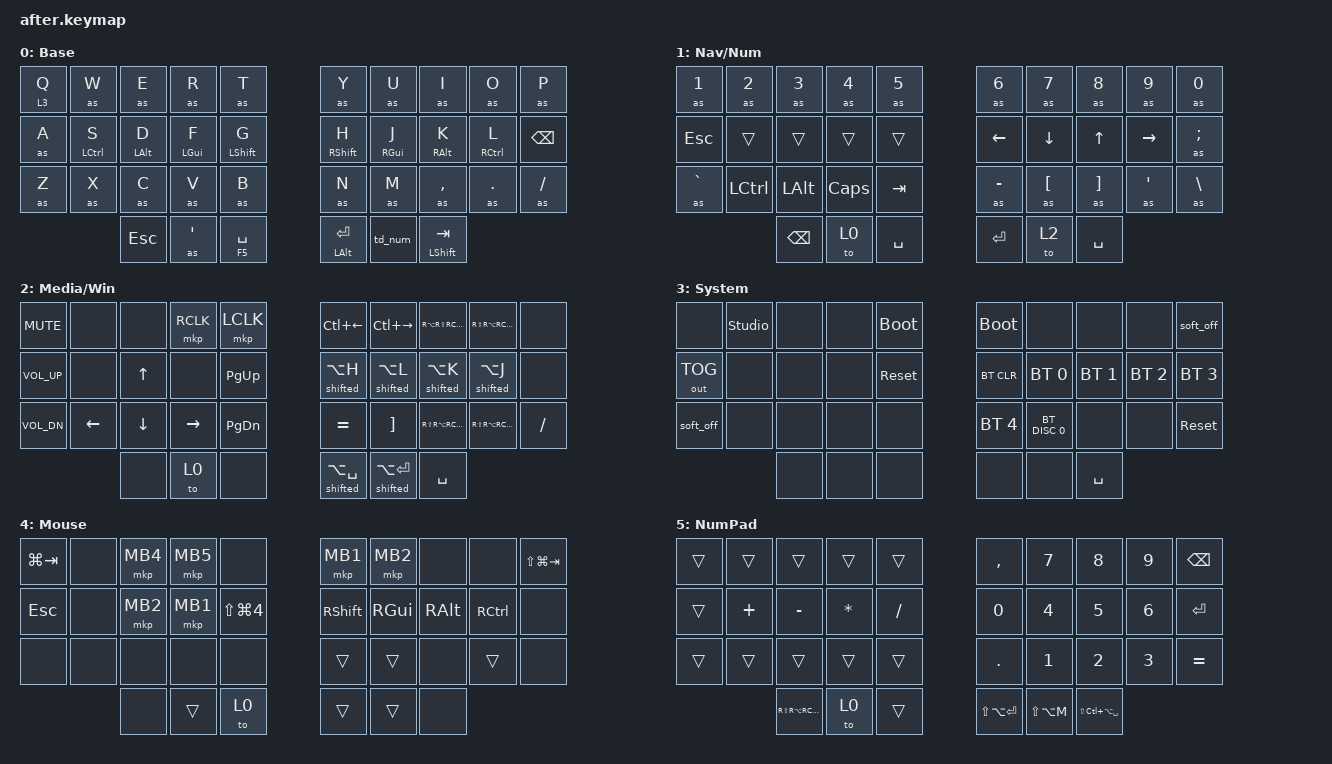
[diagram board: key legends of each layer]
#include <behaviors.dtsi>
#include <dt-bindings/zmk/bt.h>
#include <dt-bindings/zmk/keys.h>
#include <dt-bindings/zmk/outputs.h>
#include <dt-bindings/zmk/pointing.h>
#include <behaviors/num_word.dtsi>   // urob/zmk-auto-layer module
#include <scroll-snap.dtsi>          // kot149/zmk-scroll-snap module

/* Key position groups for timeless homerow mods (36-key numbering)
 *  0  1  2  3  4    5  6  7  8  9
 * 10 11 12 13 14   15 16 17 18 19
 * 20 21 22 23 24   25 26 27 28 29
 *       30 31 32   33 34 35
 */
#define KEYS_L 0 1 2 3 4 10 11 12 13 14 20 21 22 23 24
#define KEYS_R 5 6 7 8 9 15 16 17 18 19 25 26 27 28 29
#define THUMBS 30 31 32 33 34 35

/ {
    chosen { zmk,physical-layout = &gggw_crosses_36_layout; };

    behaviors {
        hml: home_row_mod_left {
            compatible = "zmk,behavior-hold-tap";
            label = "HOME_ROW_MOD_LEFT";
            #binding-cells = <2>;
            flavor = "balanced";
            tapping-term-ms = <280>;
            quick-tap-ms = <175>;
            require-prior-idle-ms = <150>;
            bindings = <&kp>, <&kp>;
            hold-trigger-key-positions = <KEYS_R THUMBS>;
            hold-trigger-on-release;
        };

        hmr: home_row_mod_right {
            compatible = "zmk,behavior-hold-tap";
            label = "HOME_ROW_MOD_RIGHT";
            #binding-cells = <2>;
            flavor = "balanced";
            tapping-term-ms = <280>;
            quick-tap-ms = <175>;
            require-prior-idle-ms = <150>;
            bindings = <&kp>, <&kp>;
            hold-trigger-key-positions = <KEYS_L THUMBS>;
            hold-trigger-on-release;
        };

        td_num: tap_dance_num {
            compatible = "zmk,behavior-tap-dance";
            label = "TAP_DANCE_NUM";
            #binding-cells = <0>;
            tapping-term-ms = <200>;
            bindings = <&num_word 5>, <&to 5>, <&to 1>;   // tap: smart numpad, double tap: lock numpad, triple tap: lock layer 1
        };

        as_ht: autoshift_hold_tap {
            compatible = "zmk,behavior-hold-tap";
            label = "AUTOSHIFT_HOLD_TAP";
            #binding-cells = <2>;
            tapping-term-ms = <350>;
            bindings = <&shifted>, <&kp>;

            quick_tap_ms = <0>;
            flavor = "tap-preferred";
        };
    };

    macros {
        shifted: macro_shifted_kp {
            #binding-cells = <1>;
            label = "MACRO_SHIFTED_KP";
            compatible = "zmk,behavior-macro-one-param";
            bindings =
                <&macro_press>,
                <&kp LSHFT &macro_param_1to1>,
                <&macro_tap>,
                <&kp MACRO_PLACEHOLDER>,
                <&macro_release>,
                <&kp LSHFT>;
        };

        as: autoshift {
            compatible = "zmk,behavior-macro-one-param";
            #binding-cells = <1>;
            label = "AUTOSHIFT_KP";
            bindings =
                <&macro_press>,
                <&macro_param_1to1 &macro_param_1to2 &as_ht MACRO_PLACEHOLDER MACRO_PLACEHOLDER>,
                <&macro_pause_for_release>,
                <&macro_release>,
                <&macro_param_1to1 &macro_param_1to2 &as_ht MACRO_PLACEHOLDER MACRO_PLACEHOLDER>;
        };
    };
};

/* Travel power-off: hold for 2 s to shut both halves down completely
 * (central forwards to the peripheral first). Wake by tapping the reset
 * button on each half; keys cannot wake it, so it is safe in a bag.
 */
&soft_off {
    hold-time-ms = <2000>;
};

&lt {
    tapping-term-ms = <200>;
    flavor = "balanced";
    quick-tap-ms = <150>;
};

/ {
    combos {
        compatible = "zmk,combos";

        layer1-combo-left {
            bindings = <&mo 1>;
            key-positions = <24 32>;
        };

        layer2-combo-left {
            bindings = <&mo 2>;
            key-positions = <23 32>;
        };

        layer1-combo-right {
            bindings = <&mo 1>;
            key-positions = <25 33>;
        };

        layer2-combo-right {
            bindings = <&mo 2>;
            key-positions = <26 33>;
        };

        shiftenter {
            bindings = <&shifted ENTER>;
            key-positions = <32 33>;
        };

        alt-tab {
            bindings = <&kp LA(TAB)>;
            key-positions = <31 10>;
        };
    };

    macros {
    };

    behaviors {
    };

    keymap {
        compatible = "zmk,keymap";

        layer_0 {
            display-name = "Base";
            bindings = <
&lt 3 Q  &as W               &as E           &as R           &as T             &as Y               &as U            &as I               &as O                &as P
&as A    &hml LEFT_CONTROL S  &hml LEFT_ALT D  &hml LEFT_GUI F  &hml LEFT_SHIFT G  &hmr RIGHT_SHIFT H   &hmr RIGHT_GUI J  &hmr RIGHT_ALT K     &hmr RIGHT_CONTROL L  &kp BACKSPACE
&as Z    &as X               &as C           &as V           &as B             &as N               &as M            &as COMMA           &as DOT              &as FSLH
                             &kp ESCAPE      &as APOS        &mt F5 SPACE      &mt LEFT_ALT ENTER  &td_num          &mt LEFT_SHIFT TAB
            >;
        };

        layer_1 {
            display-name = "Nav/Num";
            bindings = <
&as NUMBER_1  &as NUMBER_2  &as NUMBER_3   &as NUMBER_4  &as NUMBER_5  &as NUMBER_6    &as N7            &as N8             &as NUMBER_9     &as NUMBER_0
&kp ESCAPE    &trans        &trans         &trans        &trans        &kp LEFT_ARROW  &kp DOWN_ARROW    &kp UP_ARROW       &kp RIGHT_ARROW  &as SEMICOLON
&as GRAVE     &kp LCTRL     &kp LEFT_ALT   &kp CAPS      &kp TAB       &as MINUS       &as LEFT_BRACKET  &as RIGHT_BRACKET  &as SQT          &as BACKSLASH
                            &kp BACKSPACE  &to 0         &kp SPACE     &kp ENTER       &to 2             &kp SPACE
            >;
        };

        layer_2 {
            display-name = "Media/Win";
            bindings = <
&kp K_MUTE    &none           &none           &mkp RCLK        &mkp LCLK      &kp LC(LEFT)        &kp LC(RIGHT)       &kp RA(RS(RC(LEFT)))  &kp RS(RA(RC(RIGHT)))  &none
&kp C_VOL_UP  &none           &kp UP_ARROW    &none            &kp PAGE_UP    &shifted LA(H)      &shifted LA(L)      &shifted LA(K)        &shifted LA(J)         &none
&kp C_VOL_DN  &kp LEFT_ARROW  &kp DOWN_ARROW  &kp RIGHT_ARROW  &kp PAGE_DOWN  &kp EQUAL           &kp RBKT            &kp RS(RA(RC(H)))     &kp RS(RA(RC(L)))      &kp SLASH
                              &none           &to 0            &none          &shifted LA(SPACE)  &shifted LA(ENTER)  &kp SPACE
            >;
        };

        layer_3 {
            // Hold Q to reach this layer. soft_off needs a 2 s hold.
            // bootloader/sys_reset act on the half whose key is pressed.
            display-name = "System";
            bindings = <
&none          &studio_unlock  &none  &none  &bootloader  &bootloader  &none          &none         &none         &soft_off
&out OUT_TOG   &none           &none  &none  &sys_reset   &bt BT_CLR   &bt BT_SEL 0   &bt BT_SEL 1  &bt BT_SEL 2  &bt BT_SEL 3
&soft_off      &none           &none  &none  &none        &bt BT_SEL 4 &bt BT_DISC 0  &none         &none         &sys_reset
                               &none  &none  &none        &none        &none          &kp SPACE
            >;
        };

        Mouse {
            display-name = "Mouse";
            bindings = <
&kp LG(TAB)  &none  &mkp MB4  &mkp MB5  &none                 &mkp MB1         &mkp MB2       &none          &none              &kp LS(LG(TAB))
&kp ESC      &none  &mkp MB2  &mkp MB1  &kp LS(LG(NUMBER_4))  &kp RIGHT_SHIFT  &kp RIGHT_GUI  &kp RIGHT_ALT  &kp RIGHT_CONTROL  &none
&none        &none  &none     &none     &none                 &trans           &trans         &none          &trans             &none
                    &none     &trans    &to 0                 &trans           &trans         &none
            >;
        };

        numpad {
            // Right half is a numpad (456 on home row, like a physical pad).
            // Left half stays transparent except an operator cluster on the home row,
            // so left-hand letters fall through to base and end num_word naturally.
            // Index 5: num_word and td_num point here.
            // Thumbs (Amethyst): pos 30 toggle global tiling (mod2+T),
            // pos 33 swap focused window with main (mod1+Enter),
            // pos 34 focus main window (mod1+M, bind in Amethyst prefs),
            // pos 35 cycle layout (Shift+Ctrl+Opt+Space, custom Amethyst binding;
            // mod1+Space is taken by voice input). Plain Space/Enter still exit numword.
            display-name = "NumPad";
            bindings = <
&trans  &trans    &trans     &trans     &trans     &kp COMMA  &kp N7  &kp N8  &kp N9  &kp BACKSPACE
&trans  &kp PLUS  &kp MINUS  &kp ASTRK  &kp FSLH   &kp N0     &kp N4  &kp N5  &kp N6  &kp ENTER
&trans  &trans    &trans     &trans     &trans     &kp DOT    &kp N1  &kp N2  &kp N3  &kp EQUAL
                  &kp RS(RA(RC(T)))  &to 0  &trans     &kp LS(LA(ENTER))  &kp LS(LA(M))  &kp LS(LC(LA(SPACE)))
            >;
        };
    };
};

/* Trackball window management (Amethyst) on the NumPad layer.
 * Flick a ball to fire a discrete Amethyst command
 * (zettaface/zmk-input-processor-keybind, mode 1 = 4-way).
 * Binding order is fixed by the driver: right, left, down, up.
 * mod1 = Opt+Shift, mod2 = Ctrl+Opt+Shift (Amethyst defaults).
 */
/ {
    input_processors {
        // Left ball: one-shot placement flicks (slow repeat)
        zip_win_throw: zip_win_throw {
            compatible = "zmk,input-processor-keybind";
            #input-processor-cells = <0>;
            mode = <1>;
            tick = <60>;
            wait-ms = <250>;
            tap-ms = <30>;
            bindings = <&kp RS(RA(RC(RIGHT)))>,   // flick right: throw window to space right
                       <&kp RS(RA(RC(LEFT)))>,    // flick left:  throw window to space left
                       <&kp RS(RA(RC(J)))>,       // flick down:  swap window counterclockwise
                       <&kp RS(RA(RC(K)))>;       // flick up:    swap window clockwise
        };

        // Right ball: continuous layout control (fast repeat).
        // Rolling right/left drags the main pane divider; up/down cycles focus.
        zip_win_resize: zip_win_resize {
            compatible = "zmk,input-processor-keybind";
            #input-processor-cells = <0>;
            mode = <1>;
            tick = <120>;
            wait-ms = <80>;
            tap-ms = <20>;
            bindings = <&kp LS(LA(L))>,           // roll right: expand main pane
                       <&kp LS(LA(H))>,           // roll left:  shrink main pane
                       <&kp LS(LA(J))>,           // roll down:  focus next window
                       <&kp LS(LA(K))>;           // roll up:    focus previous window
        };
    };
};

/* Left trackball, per-layer behavior.
 * The peripheral now sends raw x/y (only BLE rate limiting on-half);
 * interpretation happens here on the central side so it can vary by layer:
 *   - Mouse layer (4): precision pointer at half speed for fine placement
 *   - everywhere else: vertical + horizontal scroll, snapped to the
 *     dominant axis by zmk-scroll-snap so diagonal wobble does not leak
 *     into the other axis
 */
&trackball_peripheral_split {
    input-processors = <&zip_ble_report_rate_limit>;
};

&trackball_peripheral_listener {
    status = "okay";

    /* Base chain = the default for any layer without an override below:
     * vertical + horizontal scroll, snapped to the dominant axis.
     * NOTE: never list layer 0 in a child override; layer 0 is always
     * active in ZMK, so such a child matches on EVERY layer and shadows
     * the children declared after it.
     */
    input-processors = <&zip_xy_to_scroll_mapper>, <&zip_scroll_snap>, <&zip_scroll_scaler 1 2>;

    /* Declared first on purpose: the Mouse layer can still be active
     * (800 ms temp-layer tail) when the NumPad layer is entered, and the
     * first matching child wins. Window management must beat precision.
     */
    win_throw {
        layers = <5>;
        input-processors = <&zip_win_throw>, <&zip_xy_scaler 0 1>;
    };

    precision_pointer {
        layers = <4>;
        // scaler slows the pointer; temp_layer refreshes the Mouse layer
        // timeout so left-ball motion keeps the layer alive too
        input-processors = <&zip_xy_scaler 3 4>, <&zip_temp_layer 4 800>;
    };
};

// NumPad layer: right ball resizes the main pane and cycles focus.
// The zero scaler stops residual motion from moving the pointer.
&trackball_central_listener {
    win_resize {
        layers = <5>;
        input-processors = <&zip_win_resize>, <&zip_xy_scaler 0 1>;
    };
};

/* Mouse layer keys must not dismiss the temp layer: exclude the click,
 * mod-click and shortcut positions so you can click while the layer is
 * held open by ball motion. Position 32 (&to 0) stays excluded from this
 * list on purpose: it is the explicit exit.
 */
&zip_temp_layer {
    require-prior-idle-ms = <150>;
    excluded-positions = <0 2 3 5 6 9 10 12 13 14 15 16 17 18>;
};

/* Keep num_word alive through window management. Continue-list entries
 * match keycode PLUS modifiers (subset match), so the exact Amethyst
 * chords are whitelisted while the plain keys keep their exit behavior:
 * plain Space, plain Enter and letters all still end numword.
 * (List replaces the module default, so the defaults are repeated.)
 */
&num_word {
    continue-list = <
        BACKSPACE DELETE DOT COMMA PLUS MINUS STAR FSLH EQUAL
        RS(RA(RC(LEFT))) RS(RA(RC(RIGHT))) RS(RA(RC(J))) RS(RA(RC(K)))
        LS(LA(H)) LS(LA(J)) LS(LA(K)) LS(LA(L))
        LS(LA(ENTER)) LS(LA(M)) LS(LC(LA(SPACE))) RS(RA(RC(T)))
    >;
};
